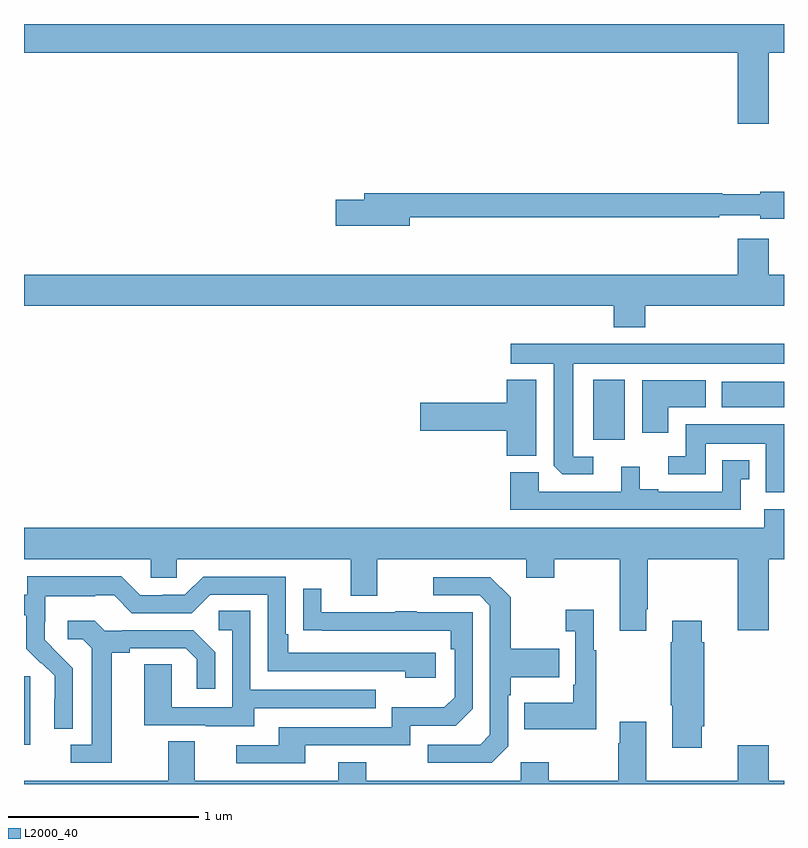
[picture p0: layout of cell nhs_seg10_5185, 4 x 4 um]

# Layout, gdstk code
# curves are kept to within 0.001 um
import gdstk
lib = gdstk.Library(unit=1e-6, precision=1e-09)
def R(c, l, rs):  # rectangles x0, y0, x1, y1
    for r in rs: c.add(gdstk.rectangle(r[:2], r[2:], *l))
def P(c, l, *ps):  # polygons
    for p in ps: c.add(gdstk.Polygon(p, *l))
L2000_40 = (2000, 40)

nhs_seg10_5185 = lib.new_cell('nhs_seg10_5185')
R(nhs_seg10_5185, L2000_40, [(413,1264.706,413.032,1265.067), (415.997,1266.312,416.161,1266.628), (416.672,1266.482,417,1266.616)])
P(nhs_seg10_5185, L2000_40, [(416.92,1268.348),(417,1268.348),(417,1268.5),(413,1268.5),(413,1268.348),(416.756,1268.348),(416.756,1267.974),(416.92,1267.974)],
  [(415.03,1267.482),(416.66,1267.482),(416.66,1267.494),(416.874,1267.494),(416.874,1267.474),(417,1267.474),(417,1267.616),(416.874,1267.616),(416.874,1267.603),(416.674,1267.603),(416.674,1267.61),(414.791,1267.61),(414.791,1267.574),(414.642,1267.574),(414.642,1267.439),(415.03,1267.439)],
  [(416.27,1267.016),(417,1267.016),(417,1267.18),(416.92,1267.18),(416.92,1267.369),(416.756,1267.369),(416.756,1267.18),(413,1267.18),(413,1267.016),(416.105,1267.016),(416.105,1266.905),(416.27,1266.905)],
  [(415.996,1266.222),(415.891,1266.222),(415.891,1266.713),(417,1266.713),(417,1266.817),(415.563,1266.817),(415.563,1266.713),(415.787,1266.713),(415.788,1266.175),(415.834,1266.129),(415.996,1266.129)],
  [(415.696,1266.628),(415.541,1266.628),(415.541,1266.506),(415.086,1266.506),(415.086,1266.359),(415.541,1266.359),(415.541,1266.227),(415.696,1266.227)],
  [(416.392,1266.482),(416.587,1266.482),(416.587,1266.625),(416.255,1266.625),(416.255,1266.348),(416.392,1266.348)],
  [(417,1266.394),(416.483,1266.394),(416.483,1266.225),(416.391,1266.225),(416.391,1266.129),(416.587,1266.129),(416.587,1266.29),(416.903,1266.29),(416.903,1266.035),(417,1266.035)],
  [(416.772,1266.105),(416.818,1266.105),(416.818,1266.205),(416.676,1266.205),(416.676,1266.039),(416.338,1266.039),(416.338,1266.052),(416.242,1266.052),(416.242,1266.169),(416.144,1266.169),(416.144,1266.039),(415.71,1266.039),(415.71,1266.142),(415.559,1266.142),(415.559,1265.943),(416.772,1265.943)],
  [(413,1265.684),(413.667,1265.684),(413.667,1265.586),(413.805,1265.586),(413.805,1265.684),(414.719,1265.684),(414.719,1265.49),(414.859,1265.49),(414.859,1265.684),(415.643,1265.684),(415.643,1265.585),(415.791,1265.585),(415.791,1265.684),(416.135,1265.684),(416.135,1265.307),(416.275,1265.307),(416.275,1265.419),(416.283,1265.419),(416.283,1265.684),(416.756,1265.684),(416.756,1265.31),(416.92,1265.31),(416.92,1265.684),(417,1265.684),(417,1265.947),(416.897,1265.947),(416.897,1265.848),(413,1265.848)],
  [(413.256,1265.11),(413.11,1265.258),(413.11,1265.355),(413.112,1265.355),(413.112,1265.489),(413.375,1265.489),(413.375,1265.493),(413.475,1265.493),(413.568,1265.4),(413.883,1265.4),(413.979,1265.496),(414.282,1265.496),(414.282,1265.094),(415.007,1265.094),(415.007,1265.06),(415.168,1265.06),(415.168,1265.19),(414.391,1265.19),(414.391,1265.287),(414.378,1265.287),(414.378,1265.592),(413.943,1265.592),(413.847,1265.496),(413.729,1265.496),(413.729,1265.493),(413.613,1265.493),(413.513,1265.593),(413.016,1265.593),(413.016,1265.496),(413,1265.496),(413,1265.388),(413.011,1265.388),(413.011,1265.213),(413.088,1265.136),(413.091,1265.139),(413.162,1265.069),(413.162,1264.946),(413.16,1264.946),(413.16,1264.792),(413.256,1264.792)],
  [(415.548,1264.698),(415.548,1264.967),(415.561,1264.967),(415.561,1265.063),(415.817,1265.063),(415.817,1265.211),(415.561,1265.211),(415.561,1265.483),(415.455,1265.589),(415.155,1265.589),(415.155,1265.493),(415.398,1265.493),(415.452,1265.439),(415.452,1264.758),(415.401,1264.707),(415.125,1264.707),(415.125,1264.611),(415.461,1264.611)],
  [(414.481,1264.704),(415.032,1264.704),(415.032,1264.806),(415.272,1264.806),(415.362,1264.896),(415.362,1265.403),(415.067,1265.403),(415.067,1265.408),(414.955,1265.408),(414.955,1265.403),(414.565,1265.403),(414.565,1265.527),(414.469,1265.527),(414.469,1265.308),(415.246,1265.307),(415.246,1265.21),(415.266,1265.21),(415.266,1264.956),(415.213,1264.903),(414.936,1264.903),(414.936,1264.8),(414.341,1264.8),(414.341,1264.704),(414.117,1264.704),(414.117,1264.608),(414.481,1264.608)],
  [(416.011,1265.203),(415.999,1265.203),(415.999,1265.416),(415.851,1265.416),(415.851,1265.303),(415.902,1265.303),(415.902,1265.023),(415.89,1265.023),(415.89,1264.927),(415.633,1264.927),(415.633,1264.787),(416.011,1264.787)],
  [(414.211,1264.899),(414.851,1264.899),(414.851,1264.995),(414.192,1264.995),(414.192,1265.411),(414.024,1265.411),(414.024,1265.31),(414.096,1265.31),(414.096,1264.905),(413.778,1264.905),(413.778,1265.129),(413.633,1265.129),(413.633,1264.809),(413.957,1264.809),(413.957,1264.805),(414.211,1264.805)],
  [(416.566,1264.804),(416.579,1264.804),(416.579,1265.246),(416.566,1265.246),(416.566,1265.359),(416.411,1265.359),(416.411,1265.246),(416.404,1265.246),(416.404,1264.915),(416.411,1264.915),(416.411,1264.692),(416.566,1264.692)],
  [(413.461,1265.192),(413.557,1265.192),(413.557,1265.214),(413.852,1265.214),(413.909,1265.157),(413.909,1265.001),(414.006,1265.001),(414.006,1265.194),(413.89,1265.31),(413.518,1265.31),(413.518,1265.307),(413.424,1265.307),(413.372,1265.359),(413.229,1265.359),(413.229,1265.262),(413.31,1265.262),(413.357,1265.215),(413.357,1264.707),(413.247,1264.707),(413.247,1264.611),(413.461,1264.611)],
  [(417,1264.516),(416.92,1264.516),(416.92,1264.705),(416.756,1264.705),(416.756,1264.516),(416.275,1264.516),(416.275,1264.828),(416.135,1264.828),(416.135,1264.715),(416.128,1264.715),(416.128,1264.516),(415.761,1264.516),(415.761,1264.615),(415.614,1264.615),(415.614,1264.516),(414.801,1264.516),(414.801,1264.615),(414.653,1264.615),(414.653,1264.516),(413.899,1264.516),(413.899,1264.724),(413.759,1264.724),(413.759,1264.516),(413,1264.516),(413,1264.5),(417,1264.5)])

lib.write_gds('nhs_seg10_5185.gds')
